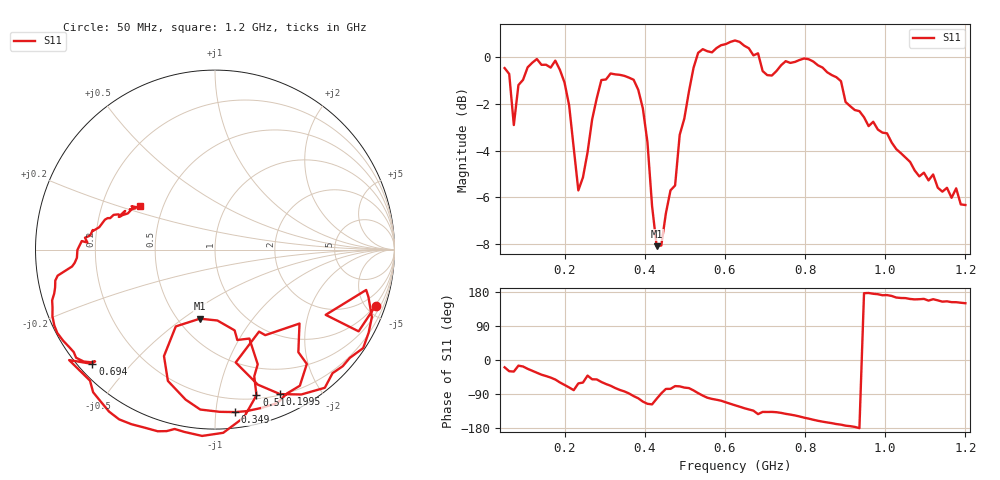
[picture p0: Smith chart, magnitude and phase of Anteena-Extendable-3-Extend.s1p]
# HZ S RI R 50
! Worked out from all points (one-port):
!   101 points, 50 MHz to 1.2 GHz, reference 50 ohm
!   lowest |S11| = -8.1 dB at 429.5 MHz (marker M1), VSWR 2.30, Z = 31.9 - j29.1 ohm
!   |S11| at or under -10 dB: nowhere
!   S11 on the Smith chart (normalised r, x): 50 MHz: 0.93, -5.75; 199.5 MHz: 0.21, -1.53; 349 MHz: 0.10, -1.13; 510 MHz: 0.23, -1.30; 694 MHz: 0.04, -0.39; 1.2 GHz: 0.37, +0.23
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5e7  0.8949 -0.3126
6.15e7  0.8002 -0.4555
7.3e7  0.6166 -0.3635
8.45e7  0.8422 -0.2249
1.305e8  0.8256 -0.5487
1.765e8  0.6119 -0.7698
1.995e8  0.3624 -0.8052
2.225e8  0.1154 -0.6289
2.34e8  0.2455 -0.4569
2.57e8  0.4708 -0.412
2.915e8  0.4728 -0.7583
3.375e8  0.1749 -0.9
3.49e8  0.1121 -0.9053
3.95e8  -0.2624 -0.7317
4.065e8  -0.2842 -0.5933
4.295e8  -0.0841 -0.3848
4.755e8  0.1915 -0.4957
4.87e8  0.2381 -0.6391
5.1e8  0.2311 -0.8119
5.445e8  -0.0717 -1.038
6.25e8  -0.534 -0.9459
6.825e8  -0.8128 -0.6155
6.94e8  -0.6833 -0.6368
7.745e8  -0.8124 -0.5428
8.435e8  -0.9074 -0.2826
9.125e8  -0.782 -0.0744
1.062e9  -0.5645 0.1937
1.2e9  -0.4172 0.2425
